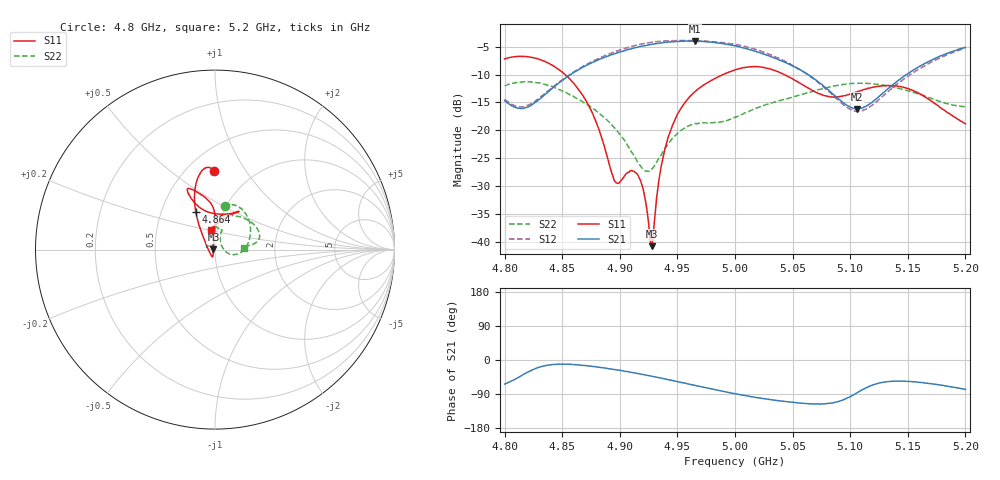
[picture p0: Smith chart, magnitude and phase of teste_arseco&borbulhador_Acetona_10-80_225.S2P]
! Network Analyzer HP8722D
! Hewlett-Packard
! Data name: Linha & Wilkinson
! Saver's name: Rodrigo Anjos
! Comments: Teste da utilização de aquisição
! continua pelo VNA HP8722D
! Time and date: 25/4/2025 17:08
!  Frequency  S11  S21  S12  S22
# HZ  S  MA R 50
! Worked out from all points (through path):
!   401 points, 4.8 GHz to 5.2 GHz, reference 50 ohm
!   highest |S21| = -4.00 dB at 4.965 GHz (marker M1); lowest = -16.2 dB at 5.106 GHz (marker M2)
!   lowest |S11| = -40.8 dB at 4.928 GHz (marker M3), VSWR 1.02, Z = 49.1 + j0.198 ohm
!   |S11| at or under -10 dB: 4.852 GHz to 4.99 GHz (137.4 MHz wide, 2.79 % of centre); 5.043 GHz to end of sweep
!   |S22| runs from -27.4 to -11.3 dB; largest |S21 - S12| = 1.2
!   S11 on the Smith chart (normalised r, x): 4.8 GHz: 0.67, +0.72; 4.864 GHz: 0.75, +0.33; 5.2 GHz: 0.93, +0.21
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4.8e9  0.4365 90.9  0.1845 -63.5  0.1895 69.9  0.2493 77.1
4.82e9  0.455 97.2  0.1619 -32.0  0.167 98.8  0.2725 61.3
4.843e9  0.3741 106.6  0.2455 -11.7  0.2499 118.9  0.2424 36.7
4.864e9  0.2341 117.1  0.3493 -12.8  0.353 120.9  0.1897 11.9
4.867e9  0.2114 118.8  0.3634 -14.1  0.3676 120.6  0.1822 8.6
4.88e9  0.1147 129.1  0.4222 -18.3  0.4324 118.2  0.1474 -5.2
4.896e9  0.03462 -170.2  0.4872 -25.3  0.5067 113.2  0.1038 -15.7
4.91e9  0.0437 -110.5  0.5376 -32.5  0.5639 107.1  0.06425 -12.8
4.917e9  0.03707 -108.4  0.561 -36.4  0.5875 103.4  0.04926 0.2
4.926e9  0.01139 -144.9  0.5844 -41.7  0.6107 98.2  0.04296 34.0
4.928e9  0.009142 167.3  0.5898 -42.8  0.6174 96.9  0.04518 41.5
4.934e9  0.03602 101.9  0.6023 -46.8  0.6266 93.1  0.05626 57.6
4.939e9  0.06694 94.4  0.6132 -49.8  0.6331 90.0  0.06794 64.7
4.946e9  0.1124 90.7  0.6204 -54.4  0.6363 85.5  0.0858 69.2
4.965e9  0.2205 91.4  0.6308 -66.9  0.6358 73.4  0.1142 70.8
5e9  0.348 109.2  0.5715 -89.2  0.5896 50.8  0.1312 88.0
5.03e9  0.3559 115.2  0.4626 -104.2  0.4784 33.8  0.1727 85.3
5.067e9  0.2285 105.7  0.2989 -115.7  0.2959 23.7  0.2221 56.8
5.106e9  0.221 65.5  0.1557 -86.4  0.1479 56.5  0.2633 24.7
5.134e9  0.2522 58.1  0.2413 -56.6  0.2269 88.8  0.2481 12.3
5.169e9  0.1872 71.0  0.4182 -62.0  0.4017 84.8  0.1953 6.9
5.2e9  0.1141 101.2  0.5539 -77.7  0.5433 70.1  0.1625 3.7
